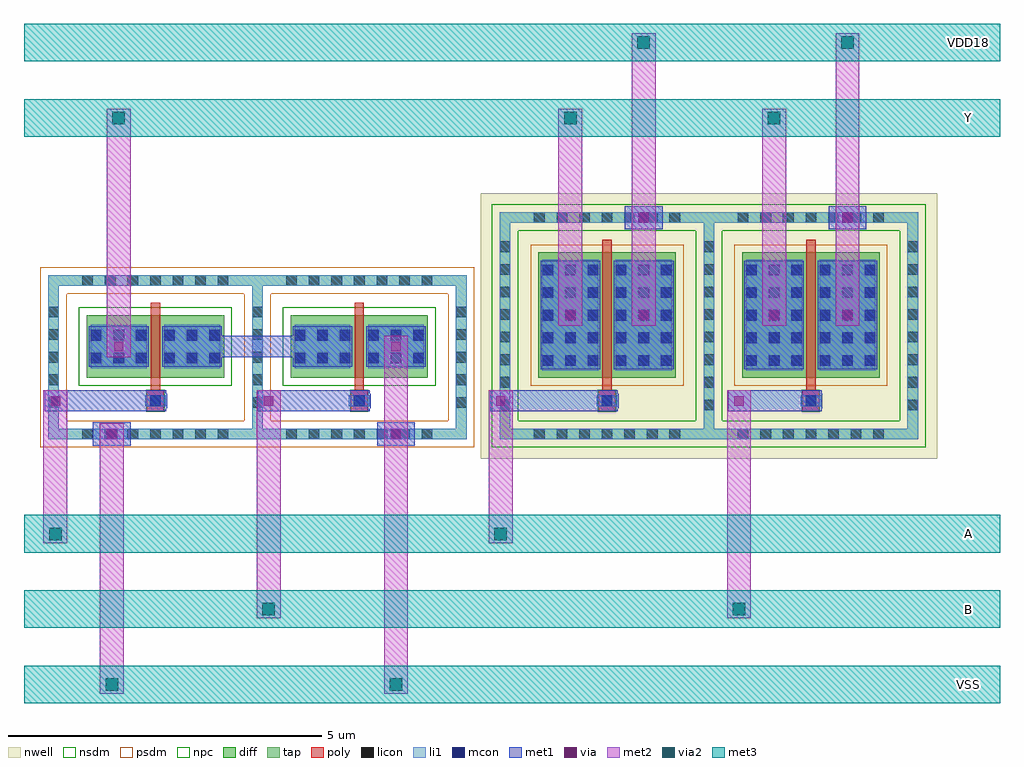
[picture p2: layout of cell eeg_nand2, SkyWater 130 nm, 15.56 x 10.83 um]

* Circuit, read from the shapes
.subckt eeg_nand2 A B VDD18 VSS Y
XM1 n1 A Y VSS sky130_fd_pr__nfet_01v8 w=1 l=0.15
XM2 VSS B n1 VSS sky130_fd_pr__nfet_01v8 w=1 l=0.15
XM3 VDD18 A Y VDD18 sky130_fd_pr__pfet_01v8 w=2 l=0.15
XM4 VDD18 B Y VDD18 sky130_fd_pr__pfet_01v8 w=2 l=0.15
.ends

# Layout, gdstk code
import gdstk
lib = gdstk.Library(unit=1e-6, precision=1e-09)
def R(c, l, rs):  # rectangles x0, y0, x1, y1
    for r in rs: c.add(gdstk.rectangle(r[:2], r[2:], *l))
def A(c, l, x, y, w, h, nx, ny, dx, dy):  # array of equal rectangles
    R(c, l, [(x+i*dx, y+j*dy, x+i*dx+w, y+j*dy+h) for i in range(nx) for j in range(ny)])
def P(c, l, *ps):  # polygons
    for p in ps: c.add(gdstk.Polygon(p, *l))
nwell = (64, 20)
diff = (65, 20)
tap = (65, 44)
poly = (66, 20)
licon = (66, 44)
li1 = (67, 20)
mcon = (67, 44)
met1 = (68, 20)
via = (68, 44)
met2 = (69, 20)
via2 = (69, 44)
met3 = (70, 20)
nsdm = (93, 44)
psdm = (94, 20)
npc = (95, 20)

nd_n1 = lib.new_cell('nd_n1')
R(nd_n1, diff, [(0,0,2.19,1)])
P(nd_n1, tap, [(-0.615,-0.98),(-0.615,1.47),(-0.445,1.47),(-0.445,-0.81),(2.635,-0.81),(2.635,1.47),(-0.615,1.47),(-0.615,1.64),(2.805,1.64),(2.805,-0.98)])
R(nd_n1, poly, [(0.96,-0.53,1.23,-0.2), (1.02,-0.2,1.17,1.2)])
A(nd_n1, licon, -0.07, -0.98, 0.17, 0.17, 7, 2, 0.36, 2.45)
A(nd_n1, licon, -0.615, -0.475, 0.17, 0.17, 1, 5, 0, 0.36)
A(nd_n1, licon, 2.635, -0.475, 0.17, 0.17, 1, 5, 0, 0.36)
A(nd_n1, licon, 0.065, 0.235, 0.17, 0.17, 3, 2, 0.36, 0.36)
A(nd_n1, licon, 1.235, 0.235, 0.17, 0.17, 3, 2, 0.36, 0.36)
R(nd_n1, licon, [(1.01,-0.45,1.18,-0.28)])
R(nd_n1, li1, [(0.93,-0.45,1.26,-0.28), (0.065,0.155,0.955,0.845), (1.235,0.155,2.125,0.845)])
P(nd_n1, li1, [(-0.615,-0.98),(-0.615,1.47),(-0.445,1.47),(-0.445,-0.81),(2.635,-0.81),(2.635,1.47),(-0.615,1.47),(-0.615,1.64),(2.805,1.64),(2.805,-0.98)])
A(nd_n1, mcon, 0.065, 0.235, 0.17, 0.17, 3, 2, 0.36, 0.36)
A(nd_n1, mcon, 1.235, 0.235, 0.17, 0.17, 3, 2, 0.36, 0.36)
R(nd_n1, mcon, [(1.01,-0.45,1.18,-0.28)])
R(nd_n1, met1, [(0.91,-0.48,1.28,-0.25), (0.035,0.175,0.985,0.825), (1.205,0.175,2.155,0.825)])
R(nd_n1, nsdm, [(-0.125,-0.125,2.315,1.125)])
P(nd_n1, psdm, [(-0.74,-1.105),(-0.74,1.345),(-0.32,1.345),(-0.32,-0.685),(2.51,-0.685),(2.51,1.345),(-0.74,1.345),(-0.74,1.765),(2.93,1.765),(2.93,-1.105)])
R(nd_n1, npc, [(0.95,-0.54,1.24,-0.19)])

nd_n2 = lib.new_cell('nd_n2')
R(nd_n2, diff, [(0,0,2.19,1)])
P(nd_n2, tap, [(-0.615,-0.98),(-0.615,1.47),(-0.445,1.47),(-0.445,-0.81),(2.635,-0.81),(2.635,1.47),(-0.615,1.47),(-0.615,1.64),(2.805,1.64),(2.805,-0.98)])
R(nd_n2, poly, [(0.96,-0.53,1.23,-0.2), (1.02,-0.2,1.17,1.2)])
A(nd_n2, licon, -0.07, -0.98, 0.17, 0.17, 7, 2, 0.36, 2.45)
A(nd_n2, licon, -0.615, -0.475, 0.17, 0.17, 1, 5, 0, 0.36)
A(nd_n2, licon, 2.635, -0.475, 0.17, 0.17, 1, 5, 0, 0.36)
A(nd_n2, licon, 0.065, 0.235, 0.17, 0.17, 3, 2, 0.36, 0.36)
A(nd_n2, licon, 1.235, 0.235, 0.17, 0.17, 3, 2, 0.36, 0.36)
R(nd_n2, licon, [(1.01,-0.45,1.18,-0.28)])
R(nd_n2, li1, [(0.93,-0.45,1.26,-0.28), (0.065,0.155,0.955,0.845), (1.235,0.155,2.125,0.845)])
P(nd_n2, li1, [(-0.615,-0.98),(-0.615,1.47),(-0.445,1.47),(-0.445,-0.81),(2.635,-0.81),(2.635,1.47),(-0.615,1.47),(-0.615,1.64),(2.805,1.64),(2.805,-0.98)])
A(nd_n2, mcon, 0.065, 0.235, 0.17, 0.17, 3, 2, 0.36, 0.36)
A(nd_n2, mcon, 1.235, 0.235, 0.17, 0.17, 3, 2, 0.36, 0.36)
R(nd_n2, mcon, [(1.01,-0.45,1.18,-0.28)])
R(nd_n2, met1, [(0.91,-0.48,1.28,-0.25), (0.035,0.175,0.985,0.825), (1.205,0.175,2.155,0.825)])
R(nd_n2, nsdm, [(-0.125,-0.125,2.315,1.125)])
P(nd_n2, psdm, [(-0.74,-1.105),(-0.74,1.345),(-0.32,1.345),(-0.32,-0.685),(2.51,-0.685),(2.51,1.345),(-0.74,1.345),(-0.74,1.765),(2.93,1.765),(2.93,-1.105)])
R(nd_n2, npc, [(0.95,-0.54,1.24,-0.19)])

nd_p1 = lib.new_cell('nd_p1')
R(nd_p1, nwell, [(-0.92,-1.285,3.11,2.945)])
R(nd_p1, diff, [(0,0,2.19,2)])
P(nd_p1, tap, [(-0.615,-0.98),(-0.615,2.47),(-0.445,2.47),(-0.445,-0.81),(2.635,-0.81),(2.635,2.47),(-0.615,2.47),(-0.615,2.64),(2.805,2.64),(2.805,-0.98)])
R(nd_p1, poly, [(0.96,-0.53,1.23,-0.2), (1.02,-0.2,1.17,2.2)])
A(nd_p1, licon, -0.07, -0.98, 0.17, 0.17, 7, 2, 0.36, 3.45)
A(nd_p1, licon, -0.615, -0.515, 0.17, 0.17, 1, 8, 0, 0.36)
A(nd_p1, licon, 2.635, -0.515, 0.17, 0.17, 1, 8, 0, 0.36)
A(nd_p1, licon, 0.065, 0.195, 0.17, 0.17, 3, 5, 0.36, 0.36)
A(nd_p1, licon, 1.235, 0.195, 0.17, 0.17, 3, 5, 0.36, 0.36)
R(nd_p1, licon, [(1.01,-0.45,1.18,-0.28)])
R(nd_p1, li1, [(0.93,-0.45,1.26,-0.28), (0.065,0.115,0.955,1.885), (1.235,0.115,2.125,1.885)])
P(nd_p1, li1, [(-0.615,-0.98),(-0.615,2.47),(-0.445,2.47),(-0.445,-0.81),(2.635,-0.81),(2.635,2.47),(-0.615,2.47),(-0.615,2.64),(2.805,2.64),(2.805,-0.98)])
A(nd_p1, mcon, 0.065, 0.195, 0.17, 0.17, 3, 5, 0.36, 0.36)
A(nd_p1, mcon, 1.235, 0.195, 0.17, 0.17, 3, 5, 0.36, 0.36)
R(nd_p1, mcon, [(1.01,-0.45,1.18,-0.28)])
R(nd_p1, met1, [(0.91,-0.48,1.28,-0.25), (0.035,0.135,0.985,1.865), (1.205,0.135,2.155,1.865)])
P(nd_p1, nsdm, [(-0.74,-1.105),(-0.74,2.345),(-0.32,2.345),(-0.32,-0.685),(2.51,-0.685),(2.51,2.345),(-0.74,2.345),(-0.74,2.765),(2.93,2.765),(2.93,-1.105)])
R(nd_p1, psdm, [(-0.125,-0.125,2.315,2.125)])
R(nd_p1, npc, [(0.95,-0.54,1.24,-0.19)])

nd_p2 = lib.new_cell('nd_p2')
R(nd_p2, nwell, [(-0.92,-1.285,3.11,2.945)])
R(nd_p2, diff, [(0,0,2.19,2)])
P(nd_p2, tap, [(-0.615,-0.98),(-0.615,2.47),(-0.445,2.47),(-0.445,-0.81),(2.635,-0.81),(2.635,2.47),(-0.615,2.47),(-0.615,2.64),(2.805,2.64),(2.805,-0.98)])
R(nd_p2, poly, [(0.96,-0.53,1.23,-0.2), (1.02,-0.2,1.17,2.2)])
A(nd_p2, licon, -0.07, -0.98, 0.17, 0.17, 7, 2, 0.36, 3.45)
A(nd_p2, licon, -0.615, -0.515, 0.17, 0.17, 1, 8, 0, 0.36)
A(nd_p2, licon, 2.635, -0.515, 0.17, 0.17, 1, 8, 0, 0.36)
A(nd_p2, licon, 0.065, 0.195, 0.17, 0.17, 3, 5, 0.36, 0.36)
A(nd_p2, licon, 1.235, 0.195, 0.17, 0.17, 3, 5, 0.36, 0.36)
R(nd_p2, licon, [(1.01,-0.45,1.18,-0.28)])
R(nd_p2, li1, [(0.93,-0.45,1.26,-0.28), (0.065,0.115,0.955,1.885), (1.235,0.115,2.125,1.885)])
P(nd_p2, li1, [(-0.615,-0.98),(-0.615,2.47),(-0.445,2.47),(-0.445,-0.81),(2.635,-0.81),(2.635,2.47),(-0.615,2.47),(-0.615,2.64),(2.805,2.64),(2.805,-0.98)])
A(nd_p2, mcon, 0.065, 0.195, 0.17, 0.17, 3, 5, 0.36, 0.36)
A(nd_p2, mcon, 1.235, 0.195, 0.17, 0.17, 3, 5, 0.36, 0.36)
R(nd_p2, mcon, [(1.01,-0.45,1.18,-0.28)])
R(nd_p2, met1, [(0.91,-0.48,1.28,-0.25), (0.035,0.135,0.985,1.865), (1.205,0.135,2.155,1.865)])
P(nd_p2, nsdm, [(-0.74,-1.105),(-0.74,2.345),(-0.32,2.345),(-0.32,-0.685),(2.51,-0.685),(2.51,2.345),(-0.74,2.345),(-0.74,2.765),(2.93,2.765),(2.93,-1.105)])
R(nd_p2, psdm, [(-0.125,-0.125,2.315,2.125)])
R(nd_p2, npc, [(0.95,-0.54,1.24,-0.19)])

eeg_nand2 = lib.new_cell('eeg_nand2')
R(eeg_nand2, mcon, [(0.315,-0.98,0.485,-0.81), (4.845,-0.98,5.015,-0.81), (8.795,2.47,8.965,2.64), (12.045,2.47,12.215,2.64)])
R(eeg_nand2, met1, [(0.1,-1.08,0.7,-0.71), (4.63,-1.08,5.23,-0.71), (0.23,-1.065,0.57,-0.725), (4.76,-1.065,5.1,-0.725), (-0.67,-0.535,1.265,-0.195), (2.73,-0.535,4.515,-0.195), (6.43,-0.535,8.465,-0.195), (10.23,-0.535,11.715,-0.195), (0.34,0.33,0.68,0.67), (1.51,0.33,3.93,0.67), (4.76,0.33,5.1,0.67), (7.54,0.83,7.88,1.17), (8.71,0.83,9.05,1.17), (10.79,0.83,11.13,1.17), (11.96,0.83,12.3,1.17), (8.58,2.37,9.18,2.74), (11.83,2.37,12.43,2.74), (8.71,2.385,9.05,2.725), (11.96,2.385,12.3,2.725)])
R(eeg_nand2, via, [(0.325,-0.97,0.475,-0.82), (4.855,-0.97,5.005,-0.82), (-0.575,-0.44,-0.425,-0.29), (2.825,-0.44,2.975,-0.29), (6.525,-0.44,6.675,-0.29), (10.325,-0.44,10.475,-0.29), (0.435,0.425,0.585,0.575), (4.855,0.425,5.005,0.575), (7.635,0.925,7.785,1.075), (8.805,0.925,8.955,1.075), (10.885,0.925,11.035,1.075), (12.055,0.925,12.205,1.075), (8.805,2.48,8.955,2.63), (12.055,2.48,12.205,2.63)])
R(eeg_nand2, met2, [(0.21,-5.035,0.59,-0.725), (4.74,-5.035,5.12,0.67), (4.74,-5.035,5.12,-0.725), (2.71,-3.835,3.09,-0.195), (10.21,-3.835,10.59,-0.195), (-0.69,-2.635,-0.31,-0.195), (6.41,-2.635,6.79,-0.195), (0.32,0.33,0.7,4.295), (7.52,0.83,7.9,4.295), (8.69,0.83,9.07,5.495), (10.77,0.83,11.15,4.295), (11.94,0.83,12.32,5.495), (8.69,2.385,9.07,5.495), (11.94,2.385,12.32,5.495)])
R(eeg_nand2, via2, [(0.3,-4.985,0.5,-4.785), (4.83,-4.985,5.03,-4.785), (4.83,-4.985,5.03,-4.785), (2.8,-3.785,3,-3.585), (10.3,-3.785,10.5,-3.585), (-0.6,-2.585,-0.4,-2.385), (6.5,-2.585,6.7,-2.385), (0.41,4.045,0.61,4.245), (7.61,4.045,7.81,4.245), (10.86,4.045,11.06,4.245), (8.78,5.245,8.98,5.445), (8.78,5.245,8.98,5.445), (12.03,5.245,12.23,5.445), (12.03,5.245,12.23,5.445)])
A(eeg_nand2, met3, -1, -5.185, 15.56, 0.6, 1, 3, 0, 1.2)
R(eeg_nand2, met3, [(-1,3.845,14.56,4.445), (-1,5.045,14.56,5.645)])
eeg_nand2.add(gdstk.Reference(nd_n1, (0,0)))
eeg_nand2.add(gdstk.Reference(nd_n2, (3.25,0)))
eeg_nand2.add(gdstk.Reference(nd_p1, (7.2,0)))
eeg_nand2.add(gdstk.Reference(nd_p2, (10.45,0)))
eeg_nand2.add(gdstk.Label('A', (14.06,-2.485), layer=70, texttype=5))
eeg_nand2.add(gdstk.Label('B', (14.06,-3.685), layer=70, texttype=5))
eeg_nand2.add(gdstk.Label('Y', (14.06,4.145), layer=70, texttype=5))
eeg_nand2.add(gdstk.Label('VDD18', (14.06,5.345), layer=70, texttype=5))
eeg_nand2.add(gdstk.Label('VSS', (14.06,-4.885), layer=70, texttype=5))

lib.write_gds('eeg_nand2.gds')
